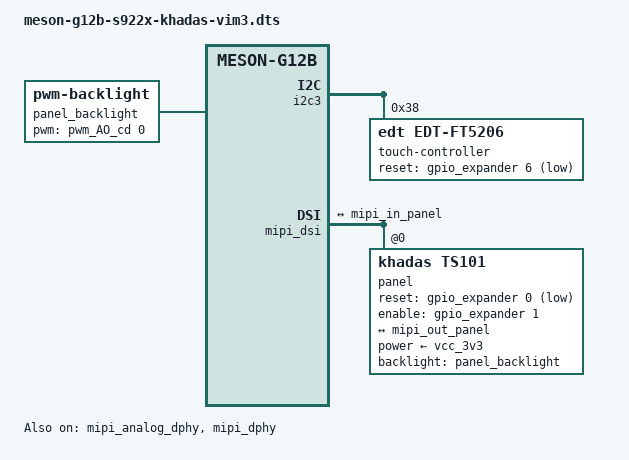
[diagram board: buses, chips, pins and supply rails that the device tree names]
// SPDX-License-Identifier: (GPL-2.0+ OR MIT)
/*
 * Copyright (c) 2019 BayLibre, SAS
 * Author: Neil Armstrong <narmstrong@baylibre.com>
 * Copyright (c) 2019 Christian Hewitt <christianshewitt@gmail.com>
 */

/dts-v1/;

#include "meson-g12b-s922x.dtsi"
#include "meson-khadas-vim3.dtsi"
#include "meson-g12b-khadas-vim3.dtsi"

/ {
	compatible = "khadas,vim3", "amlogic,s922x", "amlogic,g12b";

	panel_backlight: backlight {
		compatible = "pwm-backlight";
		pwms = <&pwm_AO_cd 0 25000 0>;
		brightness-levels = <0 255>;
		num-interpolated-steps = <255>;
		default-brightness-level = <200>;
	};
};

&i2c3 {
	#address-cells = <1>;
	#size-cells = <0>;
	pinctrl-0 = <&i2c3_sda_a_pins>, <&i2c3_sck_a_pins>;
	pinctrl-names = "default";
	status = "okay";

	touch-controller@38 {
		compatible = "edt,edt-ft5206";
		reg = <0x38>;
		interrupt-parent = <&gpio_intc>;
		interrupts = <IRQID_GPIOA_5 IRQ_TYPE_EDGE_FALLING>;
		reset-gpios = <&gpio_expander 6 GPIO_ACTIVE_LOW>;
		touchscreen-size-x = <1080>;
		touchscreen-size-y = <1920>;
		status = "okay";
	};

};

&mipi_dsi {
	#address-cells = <1>;
	#size-cells = <0>;
	status = "okay";

	assigned-clocks = <&clkc CLKID_GP0_PLL>,
			  <&clkc CLKID_MIPI_DSI_PXCLK_SEL>,
			  <&clkc CLKID_MIPI_DSI_PXCLK>,
			  <&clkc CLKID_CTS_ENCL_SEL>,
			  <&clkc CLKID_VCLK2_SEL>;
	assigned-clock-parents = <0>,
				 <&clkc CLKID_GP0_PLL>,
				 <0>,
				 <&clkc CLKID_VCLK2_DIV1>,
				 <&clkc CLKID_GP0_PLL>;
	assigned-clock-rates = <960000000>,
			       <0>,
			       <960000000>,
			       <0>,
			       <0>;

	panel@0 {
		compatible = "khadas,ts101";
		reset-gpios = <&gpio_expander 0 GPIO_ACTIVE_LOW>;
		enable-gpios = <&gpio_expander 1 GPIO_ACTIVE_HIGH>;
		power-supply = <&vcc_3v3>;
		backlight = <&panel_backlight>;
		reg = <0>;

		port {
			mipi_in_panel: endpoint {
				remote-endpoint = <&mipi_out_panel>;
			};
		};
	};

	ports {
		#address-cells = <1>;
		#size-cells = <0>;

		port@1 {
			mipi_out_panel: endpoint {
				remote-endpoint = <&mipi_in_panel>;
			};
		};
	};
};

&mipi_analog_dphy {
	status = "okay";
};

&mipi_dphy {
	status = "okay";
};

&pwm_AO_cd {
	pinctrl-0 = <&pwm_ao_c_6_pins>, <&pwm_ao_d_e_pins>;
};

/*
 * The VIM3 on-board  MCU can mux the PCIe/USB3.0 shared differential
 * lines using a FUSB340TMX USB 3.1 SuperSpeed Data Switch between
 * an USB3.0 Type A connector and a M.2 Key M slot.
 * The PHY driving these differential lines is shared between
 * the USB3.0 controller and the PCIe Controller, thus only
 * a single controller can use it.
 * If the MCU is configured to mux the PCIe/USB3.0 differential lines
 * to the M.2 Key M slot, uncomment the following block to disable
 * USB3.0 from the USB Complex and enable the PCIe controller.
 * The End User is not expected to uncomment the following except for
 * testing purposes, but instead rely on the firmware/bootloader to
 * update these nodes accordingly if PCIe mode is selected by the MCU.
 */
/*
&pcie {
	status = "okay";
};

&usb {
	phys = <&usb2_phy0>, <&usb2_phy1>;
	phy-names = "usb2-phy0", "usb2-phy1";
};
 */
